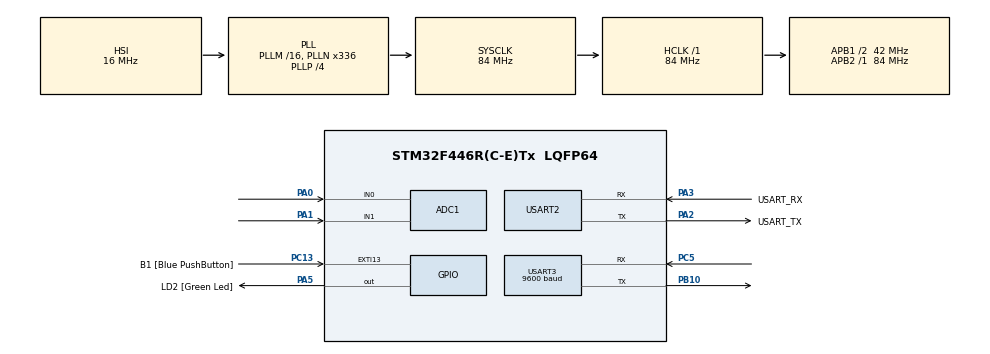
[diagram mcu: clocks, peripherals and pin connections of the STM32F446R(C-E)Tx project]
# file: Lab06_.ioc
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ADC1.Channel-0\#ChannelRegularConversion=ADC_CHANNEL_0
ADC1.Channel-1\#ChannelRegularConversion=ADC_CHANNEL_1
ADC1.ContinuousConvMode=ENABLE
ADC1.DMAContinuousRequests=ENABLE
ADC1.NbrOfConversion=2
ADC1.NbrOfConversionFlag=1
ADC1.Rank-0\#ChannelRegularConversion=1
ADC1.Rank-1\#ChannelRegularConversion=2
ADC1.SamplingTime-0\#ChannelRegularConversion=ADC_SAMPLETIME_84CYCLES
ADC1.SamplingTime-1\#ChannelRegularConversion=ADC_SAMPLETIME_84CYCLES
ADC1.ScanConvMode=ENABLE
ADC1.master=1
Dma.ADC1.0.Direction=DMA_PERIPH_TO_MEMORY
Dma.ADC1.0.FIFOMode=DMA_FIFOMODE_DISABLE
Dma.ADC1.0.Instance=DMA2_Stream0
Dma.ADC1.0.MemDataAlignment=DMA_MDATAALIGN_HALFWORD
Dma.ADC1.0.MemInc=DMA_MINC_ENABLE
Dma.ADC1.0.Mode=DMA_CIRCULAR
Dma.ADC1.0.PeriphDataAlignment=DMA_PDATAALIGN_HALFWORD
Dma.ADC1.0.PeriphInc=DMA_PINC_DISABLE
Dma.ADC1.0.Priority=DMA_PRIORITY_MEDIUM
Dma.Request0=ADC1
Mcu.Family=STM32F4
Mcu.Name=STM32F446R(C-E)Tx
Mcu.Package=LQFP64
NVIC.ADC_IRQn=true\:0\:0\:false\:false\:true\:true\:true\:true
NVIC.DMA2_Stream0_IRQn=true\:0\:0\:false\:false\:true\:false\:true\:true
NVIC.PriorityGroup=NVIC_PRIORITYGROUP_0
NVIC.USART2_IRQn=true\:0\:0\:false\:false\:true\:true\:true\:true
NVIC.USART3_IRQn=true\:0\:0\:false\:false\:true\:true\:true\:true
PA0-WKUP.Signal=ADCx_IN0
PA1.Signal=ADCx_IN1
PA13.GPIO_Label=TMS
PA13.Signal=SYS_JTMS-SWDIO
PA14.GPIO_Label=TCK
PA14.Signal=SYS_JTCK-SWCLK
PA2.GPIO_Label=USART_TX
PA2.Mode=Asynchronous
PA2.Signal=USART2_TX
PA3.GPIO_Label=USART_RX
PA3.Mode=Asynchronous
PA3.Signal=USART2_RX
PA5.GPIO_Label=LD2 [Green Led]
PA5.Signal=GPIO_Output
PB10.Mode=Asynchronous
PB10.Signal=USART3_TX
PB3.GPIO_Label=SWO
PB3.Signal=SYS_JTDO-SWO
PC13.GPIO_Label=B1 [Blue PushButton]
PC13.GPIO_ModeDefaultEXTI=GPIO_MODE_IT_FALLING
PC13.Signal=GPXTI13
PC14-OSC32_IN.Signal=RCC_OSC32_IN
PC15-OSC32_OUT.Signal=RCC_OSC32_OUT
PC5.Mode=Asynchronous
PC5.Signal=USART3_RX
PH0-OSC_IN.Signal=RCC_OSC_IN
PH1-OSC_OUT.Signal=RCC_OSC_OUT
ProjectManager.HeapSize=0x200
ProjectManager.StackSize=0x400
ProjectManager.TargetToolchain=STM32CubeIDE
RCC.AHBFreq_Value=84000000
RCC.APB1CLKDivider=RCC_HCLK_DIV2
RCC.APB1Freq_Value=42000000
RCC.APB1TimFreq_Value=84000000
RCC.APB2Freq_Value=84000000
RCC.APB2TimFreq_Value=84000000
RCC.CortexFreq_Value=84000000
RCC.FLatency-AdvancedSettings=FLASH_LATENCY_2
RCC.HCLKFreq_Value=84000000
RCC.HSE_VALUE=8000000
RCC.HSI_VALUE=16000000
RCC.LSE_VALUE=32768
RCC.PLLN=336
RCC.PLLP=RCC_PLLP_DIV4
RCC.SYSCLKFreq_VALUE=84000000
RCC.SYSCLKSource=RCC_SYSCLKSOURCE_PLLCLK
RCC.USBFreq_Value=168000000
RCC.VCOOutputFreq_Value=336000000
SH.ADCx_IN0.0=ADC1_IN0,IN0
SH.ADCx_IN1.0=ADC1_IN1,IN1
USART2.VirtualMode=VM_ASYNC
USART3.BaudRate=9600
USART3.VirtualMode=VM_ASYNC
board=NUCLEO-F446RE

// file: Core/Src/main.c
/* USER CODE BEGIN Header */
/**
  ******************************************************************************
  * @file           : main.c
  * @brief          : Main program body
  ******************************************************************************
  * @attention
  *
  * Copyright (c) 2026 STMicroelectronics.
  * All rights reserved.
  *
  * This software is licensed under terms that can be found in the LICENSE file
  * in the root directory of this software component.
  * If no LICENSE file comes with this software, it is provided AS-IS.
  *
  ******************************************************************************
  */
/* USER CODE END Header */
#include "main.h"

/* USER CODE BEGIN Includes */
#include <string.h>
#include <stdio.h>
/* USER CODE END Includes */

/* USER CODE BEGIN PTD */
// ---> Estados posibles del joystick
typedef enum {
    JOYSTICK_IDLE,
    JOYSTICK_UP,
    JOYSTICK_DOWN,
    JOYSTICK_LEFT,
    JOYSTICK_RIGHT
} JoystickState_t;
/* USER CODE END PTD */

/* USER CODE BEGIN PD */
// ---> Parámetros del sistema
#define ADC_THRESHOLD    2048
#define HISTERESIS       200
#define RX_BUFFER_SIZE   64
#define NUM_ADC_CHANNELS 2
/* USER CODE END PD */

ADC_HandleTypeDef hadc1;
DMA_HandleTypeDef hdma_adc1;

UART_HandleTypeDef huart2;
UART_HandleTypeDef huart3;

/* USER CODE BEGIN PV */
uint8_t last_state_ch0 = 0;
uint8_t last_state_ch1 = 0;
// ---> Buffer que llena el DMA con los valores del ADC
uint16_t adc_values[NUM_ADC_CHANNELS];
// ---> Byte individual para la recepcion por interrupcion
uint8_t  rx_byte;
// ---> Buffer para armar la linea completa
uint8_t  rx_buffer[RX_BUFFER_SIZE];
uint8_t  rx_index = 0;
// ---> Estado actual del joystick
JoystickState_t current_joystick_state = JOYSTICK_IDLE;
/* USER CODE END PV */

void SystemClock_Config(void);
static void MX_GPIO_Init(void);
static void MX_DMA_Init(void);
static void MX_ADC1_Init(void);
static void MX_USART2_UART_Init(void);
static void MX_USART3_UART_Init(void);

/* USER CODE BEGIN 0 */
// ---> Callback de recepcion UART (desde el Nano por USART3)
void HAL_UART_RxCpltCallback(UART_HandleTypeDef *huart)
{
    if (huart->Instance == USART3)
    {
        uint8_t c = rx_byte;

        // Fin de linea
        if (c == '\n' || c == '\r')
        {
            if (rx_index > 0)
            {
                rx_buffer[rx_index] = '\0';

                if (strcmp((char*)rx_buffer, "DERECHA") == 0)
                    HAL_UART_Transmit(&huart2, (uint8_t*)"NANO: Derecha\r\n", 16, 100);
                else if (strcmp((char*)rx_buffer, "IZQUIERDA") == 0)
                    HAL_UART_Transmit(&huart2, (uint8_t*)"NANO: Izquierda\r\n", 18, 100);
                else if (strcmp((char*)rx_buffer, "ARRIBA") == 0)
                    HAL_UART_Transmit(&huart2, (uint8_t*)"NANO: Arriba\r\n", 15, 100);
                else if (strcmp((char*)rx_buffer, "ABAJO") == 0)
                    HAL_UART_Transmit(&huart2, (uint8_t*)"NANO: Abajo\r\n", 14, 100);
                else if (strcmp((char*)rx_buffer, "OPCION A") == 0)
                    HAL_UART_Transmit(&huart2, (uint8_t*)"NANO: A\r\n", 9, 100);
                else if (strcmp((char*)rx_buffer, "OPCION B") == 0)
                    HAL_UART_Transmit(&huart2, (uint8_t*)"NANO: B\r\n", 9, 100);

                rx_index = 0;
                memset(rx_buffer, 0, RX_BUFFER_SIZE);
            }
        }
        else
        {
            if (rx_index < RX_BUFFER_SIZE - 1)
                rx_buffer[rx_index++] = c;
            else
            {
                rx_index = 0;
                memset(rx_buffer, 0, RX_BUFFER_SIZE);
            }
        }

        // Rearmar la recepcion del siguiente byte
        HAL_UART_Receive_IT(&huart3, &rx_byte, 1);
    }
}
/* USER CODE END 0 */

int main(void)
{

  /* MCU Configuration--------------------------------------------------------*/

  /* Reset of all peripherals, Initializes the Flash interface and the Systick. */
  HAL_Init();

  /* Configure the system clock */
  SystemClock_Config();

  /* Initialize all configured peripherals */
  MX_GPIO_Init();
  MX_DMA_Init();
  MX_ADC1_Init();
  MX_USART2_UART_Init();
  MX_USART3_UART_Init();
  /* USER CODE BEGIN 2 */
  // ---> Mensaje inicial
  char inicio[] = ":)\r\n";
  HAL_UART_Transmit(&huart2, (uint8_t*)inicio, strlen(inicio), HAL_MAX_DELAY);

  // ---> Iniciar ADC con DMA en modo circular
  HAL_ADC_Start_DMA(&hadc1, (uint32_t*)adc_values, NUM_ADC_CHANNELS);

  // ---> Armar recepcion UART desde el Nano (byte a byte por interrupcion)
  HAL_UART_Receive_IT(&huart3, &rx_byte, 1);
  /* USER CODE END 2 */

  /* Infinite loop */
  while (1)
  {

    /* USER CODE BEGIN 3 */
    // ---> Leer valores actualizados por DMA
    uint16_t val_ch0 = adc_values[0];   // Primer potenciometro
    uint16_t val_ch1 = adc_values[1];   // Segundo potenciometro

    // ---> Determinar estado de cada canal (> mitad = "arriba/derecha")
    uint8_t state_ch0 = (val_ch0 > ADC_THRESHOLD) ? 1 : 0;
    uint8_t state_ch1 = (val_ch1 > ADC_THRESHOLD) ? 1 : 0;

    // ---> Enviar solo cuando cambia alguno de los dos estados
    if (state_ch0 != last_state_ch0 || state_ch1 != last_state_ch1)
    {
        last_state_ch0 = state_ch0;
        last_state_ch1 = state_ch1;

        const char* dir_ch0 = state_ch0 ? "Arriba" : "Abajo";
        const char* dir_ch1 = state_ch1 ? "Derecha" : "Izquierda";

        char msg[50];
        snprintf(msg, sizeof(msg), "Joystick: %s | %s\r\n", dir_ch0, dir_ch1);
        HAL_UART_Transmit(&huart2, (uint8_t*)msg, strlen(msg), 100);
    }

    HAL_Delay(50);
  }
  /* USER CODE END 3 */
}

void SystemClock_Config(void)
{
  RCC_OscInitTypeDef RCC_OscInitStruct = {0};
  RCC_ClkInitTypeDef RCC_ClkInitStruct = {0};

  /** Configure the main internal regulator output voltage
  */
  __HAL_RCC_PWR_CLK_ENABLE();
  __HAL_PWR_VOLTAGESCALING_CONFIG(PWR_REGULATOR_VOLTAGE_SCALE3);

  /** Initializes the RCC Oscillators according to the specified parameters
  * in the RCC_OscInitTypeDef structure.
  */
  RCC_OscInitStruct.OscillatorType = RCC_OSCILLATORTYPE_HSI;
  RCC_OscInitStruct.HSIState = RCC_HSI_ON;
  RCC_OscInitStruct.HSICalibrationValue = RCC_HSICALIBRATION_DEFAULT;
  RCC_OscInitStruct.PLL.PLLState = RCC_PLL_ON;
  RCC_OscInitStruct.PLL.PLLSource = RCC_PLLSOURCE_HSI;
  RCC_OscInitStruct.PLL.PLLM = 16;
  RCC_OscInitStruct.PLL.PLLN = 336;
  RCC_OscInitStruct.PLL.PLLP = RCC_PLLP_DIV4;
  RCC_OscInitStruct.PLL.PLLQ = 2;
  RCC_OscInitStruct.PLL.PLLR = 2;
  if (HAL_RCC_OscConfig(&RCC_OscInitStruct) != HAL_OK)
  {
    Error_Handler();
  }

  /** Initializes the CPU, AHB and APB buses clocks
  */
  RCC_ClkInitStruct.ClockType = RCC_CLOCKTYPE_HCLK|RCC_CLOCKTYPE_SYSCLK
                              |RCC_CLOCKTYPE_PCLK1|RCC_CLOCKTYPE_PCLK2;
  RCC_ClkInitStruct.SYSCLKSource = RCC_SYSCLKSOURCE_PLLCLK;
  RCC_ClkInitStruct.AHBCLKDivider = RCC_SYSCLK_DIV1;
  RCC_ClkInitStruct.APB1CLKDivider = RCC_HCLK_DIV2;
  RCC_ClkInitStruct.APB2CLKDivider = RCC_HCLK_DIV1;

  if (HAL_RCC_ClockConfig(&RCC_ClkInitStruct, FLASH_LATENCY_2) != HAL_OK)
  {
    Error_Handler();
  }
}

static void MX_ADC1_Init(void)
{

  ADC_ChannelConfTypeDef sConfig = {0};

  /** Configure the global features of the ADC (Clock, Resolution, Data Alignment and number of conversion)
  */
  hadc1.Instance = ADC1;
  hadc1.Init.ClockPrescaler = ADC_CLOCK_SYNC_PCLK_DIV4;
  hadc1.Init.Resolution = ADC_RESOLUTION_12B;
  hadc1.Init.ScanConvMode = ENABLE;
  hadc1.Init.ContinuousConvMode = ENABLE;
  hadc1.Init.DiscontinuousConvMode = DISABLE;
  hadc1.Init.ExternalTrigConvEdge = ADC_EXTERNALTRIGCONVEDGE_NONE;
  hadc1.Init.ExternalTrigConv = ADC_SOFTWARE_START;
  hadc1.Init.DataAlign = ADC_DATAALIGN_RIGHT;
  hadc1.Init.NbrOfConversion = 2;
  hadc1.Init.DMAContinuousRequests = ENABLE;
  hadc1.Init.EOCSelection = ADC_EOC_SINGLE_CONV;
  if (HAL_ADC_Init(&hadc1) != HAL_OK)
  {
    Error_Handler();
  }

  /** Configure for the selected ADC regular channel its corresponding rank in the sequencer and its sample time.
  */
  sConfig.Channel = ADC_CHANNEL_0;
  sConfig.Rank = 1;
  sConfig.SamplingTime = ADC_SAMPLETIME_84CYCLES;
  if (HAL_ADC_ConfigChannel(&hadc1, &sConfig) != HAL_OK)
  {
    Error_Handler();
  }

  /** Configure for the selected ADC regular channel its corresponding rank in the sequencer and its sample time.
  */
  sConfig.Channel = ADC_CHANNEL_1;
  sConfig.Rank = 2;
  if (HAL_ADC_ConfigChannel(&hadc1, &sConfig) != HAL_OK)
  {
    Error_Handler();
  }

}

static void MX_USART2_UART_Init(void)
{

  huart2.Instance = USART2;
  huart2.Init.BaudRate = 115200;
  huart2.Init.WordLength = UART_WORDLENGTH_8B;
  huart2.Init.StopBits = UART_STOPBITS_1;
  huart2.Init.Parity = UART_PARITY_NONE;
  huart2.Init.Mode = UART_MODE_TX_RX;
  huart2.Init.HwFlowCtl = UART_HWCONTROL_NONE;
  huart2.Init.OverSampling = UART_OVERSAMPLING_16;
  if (HAL_UART_Init(&huart2) != HAL_OK)
  {
    Error_Handler();
  }

}

static void MX_USART3_UART_Init(void)
{

  huart3.Instance = USART3;
  huart3.Init.BaudRate = 9600;
  huart3.Init.WordLength = UART_WORDLENGTH_8B;
  huart3.Init.StopBits = UART_STOPBITS_1;
  huart3.Init.Parity = UART_PARITY_NONE;
  huart3.Init.Mode = UART_MODE_TX_RX;
  huart3.Init.HwFlowCtl = UART_HWCONTROL_NONE;
  huart3.Init.OverSampling = UART_OVERSAMPLING_16;
  if (HAL_UART_Init(&huart3) != HAL_OK)
  {
    Error_Handler();
  }

}

static void MX_DMA_Init(void)
{

  /* DMA controller clock enable */
  __HAL_RCC_DMA2_CLK_ENABLE();

  /* DMA interrupt init */
  /* DMA2_Stream0_IRQn interrupt configuration */
  HAL_NVIC_SetPriority(DMA2_Stream0_IRQn, 0, 0);
  HAL_NVIC_EnableIRQ(DMA2_Stream0_IRQn);

}

static void MX_GPIO_Init(void)
{
  GPIO_InitTypeDef GPIO_InitStruct = {0};

  /* GPIO Ports Clock Enable */
  __HAL_RCC_GPIOC_CLK_ENABLE();
  __HAL_RCC_GPIOH_CLK_ENABLE();
  __HAL_RCC_GPIOA_CLK_ENABLE();
  __HAL_RCC_GPIOB_CLK_ENABLE();

  /*Configure GPIO pin Output Level */
  HAL_GPIO_WritePin(LD2_GPIO_Port, LD2_Pin, GPIO_PIN_RESET);

  /*Configure GPIO pin : B1_Pin */
  GPIO_InitStruct.Pin = B1_Pin;
  GPIO_InitStruct.Mode = GPIO_MODE_IT_FALLING;
  GPIO_InitStruct.Pull = GPIO_NOPULL;
  HAL_GPIO_Init(B1_GPIO_Port, &GPIO_InitStruct);

  /*Configure GPIO pin : LD2_Pin */
  GPIO_InitStruct.Pin = LD2_Pin;
  GPIO_InitStruct.Mode = GPIO_MODE_OUTPUT_PP;
  GPIO_InitStruct.Pull = GPIO_NOPULL;
  GPIO_InitStruct.Speed = GPIO_SPEED_FREQ_LOW;
  HAL_GPIO_Init(LD2_GPIO_Port, &GPIO_InitStruct);

}

void Error_Handler(void)
{
  __disable_irq();
  while (1)
  {
  }
}
